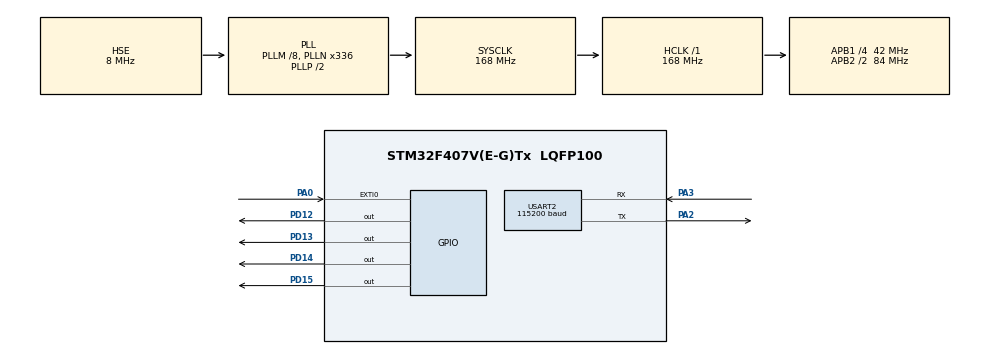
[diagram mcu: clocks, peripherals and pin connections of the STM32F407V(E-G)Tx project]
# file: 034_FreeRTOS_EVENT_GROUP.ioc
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FREERTOS.Tasks01=defaultTask,24,128,StartDefaultTask,Default,NULL,Dynamic,NULL,NULL
FREERTOS.configUSE_NEWLIB_REENTRANT=1
Mcu.Family=STM32F4
Mcu.Name=STM32F407V(E-G)Tx
Mcu.Package=LQFP100
NVIC.EXTI0_IRQn=true\:5\:0\:false\:false\:true\:true\:true\:true\:true
NVIC.PriorityGroup=NVIC_PRIORITYGROUP_4
NVIC.TIM8_TRG_COM_TIM14_IRQn=true\:15\:0\:false\:false\:true\:false\:false\:true\:true
NVIC.TimeBase=TIM8_TRG_COM_TIM14_IRQn
NVIC.TimeBaseIP=TIM14
NVIC.USART2_IRQn=true\:5\:0\:false\:false\:true\:true\:true\:true\:true
PA0-WKUP.Signal=GPXTI0
PA2.Mode=Asynchronous
PA2.Signal=USART2_TX
PA3.Mode=Asynchronous
PA3.Signal=USART2_RX
PD12.Signal=GPIO_Output
PD13.Signal=GPIO_Output
PD14.Signal=GPIO_Output
PD15.Signal=GPIO_Output
PH0-OSC_IN.Mode=HSE-External-Oscillator
PH0-OSC_IN.Signal=RCC_OSC_IN
PH1-OSC_OUT.Mode=HSE-External-Oscillator
PH1-OSC_OUT.Signal=RCC_OSC_OUT
ProjectManager.HeapSize=0x200
ProjectManager.StackSize=0x400
ProjectManager.TargetToolchain=STM32CubeIDE
RCC.48MHZClocksFreq_Value=48000000
RCC.AHBFreq_Value=168000000
RCC.APB1CLKDivider=RCC_HCLK_DIV4
RCC.APB1Freq_Value=42000000
RCC.APB1TimFreq_Value=84000000
RCC.APB2CLKDivider=RCC_HCLK_DIV2
RCC.APB2Freq_Value=84000000
RCC.APB2TimFreq_Value=168000000
RCC.CortexFreq_Value=168000000
RCC.HCLKFreq_Value=168000000
RCC.HSE_VALUE=8000000
RCC.HSI_VALUE=16000000
RCC.LSE_VALUE=32768
RCC.PLLM=8
RCC.PLLN=336
RCC.PLLQ=7
RCC.PLLSourceVirtual=RCC_PLLSOURCE_HSE
RCC.SYSCLKFreq_VALUE=168000000
RCC.SYSCLKSource=RCC_SYSCLKSOURCE_PLLCLK
RCC.VCOOutputFreq_Value=336000000
USART2.BaudRate=115200
USART2.VirtualMode=VM_ASYNC
VP_FREERTOS_VS_CMSIS_V2.Mode=CMSIS_V2
VP_SYS_VS_tim14.Mode=TIM14
board=STM32F407G-DISC1

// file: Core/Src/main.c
/* USER CODE BEGIN Header */
/**
  ******************************************************************************
  * @file           : main.c
  * @brief          : Main program body
  ******************************************************************************
  * @attention
  *
  * Copyright (c) 2023 STMicroelectronics.
  * All rights reserved.
  *
  * This software is licensed under terms that can be found in the LICENSE file
  * in the root directory of this software component.
  * If no LICENSE file comes with this software, it is provided AS-IS.
  *
  ******************************************************************************
  */
/* USER CODE END Header */
#include "main.h"

/* USER CODE BEGIN Includes */
#include "FreeRTOS.h"
#include "task.h"
#include "queue.h"
#include "event_groups.h"
#include <string.h>
#include <stdio.h>
/* USER CODE END Includes */

/* USER CODE BEGIN PD */
#define mainFIRST_TASK_BIT		(1UL << 0UL)	/* Event bit 0, which is set by bit-setting-task */
#define mainSECOND_TASK_BIT		(1UL << 1UL)	/* Event bit 1, which is set by bit-setting-task */
#define mainISR_BIT				(1UL << 2UL)	/* Event bit 2, which is set by an ISR */

/* USER CODE END PD */

UART_HandleTypeDef huart2;

/* Definitions for defaultTask */

/* USER CODE BEGIN PV */
static const char *ISR_String = "Bit setting ISR about to set bit 2\r\n";
EventGroupHandle_t xEventGroup = NULL;
/* USER CODE END PV */

void SystemClock_Config(void);
static void MX_GPIO_Init(void);
static void MX_USART2_UART_Init(void);

/* USER CODE BEGIN 0 */
static void vDeferredHandlingFunction(void *pvParameter1, uint32_t ulParameter2)
{

	HAL_UART_Transmit(&huart2, (uint8_t *)pvParameter1, strlen(pvParameter1), HAL_MAX_DELAY);
}
void HAL_GPIO_EXTI_Callback(uint16_t GPIO_Pin)
{
  if(GPIO_Pin == GPIO_PIN_0)
  {
	  BaseType_t xHigherPriorityTaskWoken = pdFALSE;
	  xTimerPendFunctionCallFromISR(vDeferredHandlingFunction, (void *)ISR_String, 0, &xHigherPriorityTaskWoken);
	  xEventGroupSetBitsFromISR(xEventGroup, mainISR_BIT, &xHigherPriorityTaskWoken);
	  portYIELD_FROM_ISR(xHigherPriorityTaskWoken);
  }
}
static void vEventBitSettingTask(void *pvParameters)
{
	const TickType_t xDelay1000ms = pdMS_TO_TICKS(1000UL);
	const char *msg = "Bit setting task - About to set bit 0\r\n";
	const char *msg2 = "Bit setting task - About to set bit 1\r\n";
	for(;;)
	{
		vTaskDelay(xDelay1000ms);
		HAL_UART_Transmit(&huart2, (uint8_t *)msg, strlen(msg), HAL_MAX_DELAY);
		xEventGroupSetBits(xEventGroup, mainFIRST_TASK_BIT);

		vTaskDelay(xDelay1000ms);
		HAL_UART_Transmit(&huart2, (uint8_t *)msg2, strlen(msg2), HAL_MAX_DELAY);
		xEventGroupSetBits(xEventGroup, mainSECOND_TASK_BIT);
	}
}
static void vEventBitReadingTask(void *pvParameters)
{
	EventBits_t xEventGroupValue;
	const EventBits_t xBitsToWaitFor = (mainFIRST_TASK_BIT | mainSECOND_TASK_BIT | mainISR_BIT);
	char buffer[100];
	for(;;)
	{
		xEventGroupValue = xEventGroupWaitBits(xEventGroup, xBitsToWaitFor, pdTRUE, pdFALSE, portMAX_DELAY);

		if((xEventGroupValue & mainFIRST_TASK_BIT) != 0)
		{
			sprintf(buffer,"Bit reading task - Event bit 0 was set!\r\n");
			HAL_UART_Transmit(&huart2, (uint8_t *)buffer, strlen(buffer), HAL_MAX_DELAY);
		}
		if((xEventGroupValue & mainSECOND_TASK_BIT) != 0)
		{
			sprintf(buffer,"Bit reading task - Event bit 1 was set!\r\n");
			HAL_UART_Transmit(&huart2, (uint8_t *)buffer, strlen(buffer), HAL_MAX_DELAY);
		}
		if((xEventGroupValue & mainISR_BIT) != 0)
		{
			sprintf(buffer,"Bit reading task - ISR bit was set!(Event bit 2 was set!)\r\n");
			HAL_UART_Transmit(&huart2, (uint8_t *)buffer, strlen(buffer), HAL_MAX_DELAY);
		}
	}
}
/* USER CODE END 0 */

int main(void)
{

  /* MCU Configuration--------------------------------------------------------*/

  /* Reset of all peripherals, Initializes the Flash interface and the Systick. */
  HAL_Init();

  /* Configure the system clock */
  SystemClock_Config();

  /* Initialize all configured peripherals */
  MX_GPIO_Init();
  MX_USART2_UART_Init();
  /* USER CODE BEGIN 2 */
  xEventGroup = xEventGroupCreate();
  xTaskCreate(vEventBitSettingTask, "Bit Setter", 1000, NULL, 1, NULL);
  xTaskCreate(vEventBitReadingTask, "Bit Reader", 1000, NULL, 2, NULL);

  vTaskStartScheduler();
  /* USER CODE END 2 */

  /* Init scheduler */

  /* Create the thread(s) */
  /* creation of defaultTask */

  /* Start scheduler */
  /* We should never get here as control is now taken by the scheduler */
  /* Infinite loop */
  while (1)
  {

  }
}

void SystemClock_Config(void)
{
  RCC_OscInitTypeDef RCC_OscInitStruct = {0};
  RCC_ClkInitTypeDef RCC_ClkInitStruct = {0};

  /** Configure the main internal regulator output voltage
  */
  __HAL_RCC_PWR_CLK_ENABLE();
  __HAL_PWR_VOLTAGESCALING_CONFIG(PWR_REGULATOR_VOLTAGE_SCALE1);

  /** Initializes the RCC Oscillators according to the specified parameters
  * in the RCC_OscInitTypeDef structure.
  */
  RCC_OscInitStruct.OscillatorType = RCC_OSCILLATORTYPE_HSE;
  RCC_OscInitStruct.HSEState = RCC_HSE_ON;
  RCC_OscInitStruct.PLL.PLLState = RCC_PLL_ON;
  RCC_OscInitStruct.PLL.PLLSource = RCC_PLLSOURCE_HSE;
  RCC_OscInitStruct.PLL.PLLM = 8;
  RCC_OscInitStruct.PLL.PLLN = 336;
  RCC_OscInitStruct.PLL.PLLP = RCC_PLLP_DIV2;
  RCC_OscInitStruct.PLL.PLLQ = 7;
  if (HAL_RCC_OscConfig(&RCC_OscInitStruct) != HAL_OK)
  {
    Error_Handler();
  }

  /** Initializes the CPU, AHB and APB buses clocks
  */
  RCC_ClkInitStruct.ClockType = RCC_CLOCKTYPE_HCLK|RCC_CLOCKTYPE_SYSCLK
                              |RCC_CLOCKTYPE_PCLK1|RCC_CLOCKTYPE_PCLK2;
  RCC_ClkInitStruct.SYSCLKSource = RCC_SYSCLKSOURCE_PLLCLK;
  RCC_ClkInitStruct.AHBCLKDivider = RCC_SYSCLK_DIV1;
  RCC_ClkInitStruct.APB1CLKDivider = RCC_HCLK_DIV4;
  RCC_ClkInitStruct.APB2CLKDivider = RCC_HCLK_DIV2;

  if (HAL_RCC_ClockConfig(&RCC_ClkInitStruct, FLASH_LATENCY_5) != HAL_OK)
  {
    Error_Handler();
  }
}

static void MX_USART2_UART_Init(void)
{

  huart2.Instance = USART2;
  huart2.Init.BaudRate = 115200;
  huart2.Init.WordLength = UART_WORDLENGTH_8B;
  huart2.Init.StopBits = UART_STOPBITS_1;
  huart2.Init.Parity = UART_PARITY_NONE;
  huart2.Init.Mode = UART_MODE_TX_RX;
  huart2.Init.HwFlowCtl = UART_HWCONTROL_NONE;
  huart2.Init.OverSampling = UART_OVERSAMPLING_16;
  if (HAL_UART_Init(&huart2) != HAL_OK)
  {
    Error_Handler();
  }

}

static void MX_GPIO_Init(void)
{
  GPIO_InitTypeDef GPIO_InitStruct = {0};

  /* GPIO Ports Clock Enable */
  __HAL_RCC_GPIOH_CLK_ENABLE();
  __HAL_RCC_GPIOA_CLK_ENABLE();
  __HAL_RCC_GPIOD_CLK_ENABLE();

  /*Configure GPIO pin Output Level */
  HAL_GPIO_WritePin(GPIOD, GPIO_PIN_12|GPIO_PIN_13|GPIO_PIN_14|GPIO_PIN_15, GPIO_PIN_RESET);

  /*Configure GPIO pin : PA0 */
  GPIO_InitStruct.Pin = GPIO_PIN_0;
  GPIO_InitStruct.Mode = GPIO_MODE_IT_RISING;
  GPIO_InitStruct.Pull = GPIO_NOPULL;
  HAL_GPIO_Init(GPIOA, &GPIO_InitStruct);

  /*Configure GPIO pins : PD12 PD13 PD14 PD15 */
  GPIO_InitStruct.Pin = GPIO_PIN_12|GPIO_PIN_13|GPIO_PIN_14|GPIO_PIN_15;
  GPIO_InitStruct.Mode = GPIO_MODE_OUTPUT_PP;
  GPIO_InitStruct.Pull = GPIO_NOPULL;
  GPIO_InitStruct.Speed = GPIO_SPEED_FREQ_LOW;
  HAL_GPIO_Init(GPIOD, &GPIO_InitStruct);

  /* EXTI interrupt init*/
  HAL_NVIC_SetPriority(EXTI0_IRQn, 5, 0);
  HAL_NVIC_EnableIRQ(EXTI0_IRQn);

}

void HAL_TIM_PeriodElapsedCallback(TIM_HandleTypeDef *htim)
{
  if (htim->Instance == TIM14) {
    HAL_IncTick();
  }
}

void Error_Handler(void)
{
  __disable_irq();
  while (1)
  {
  }
}
